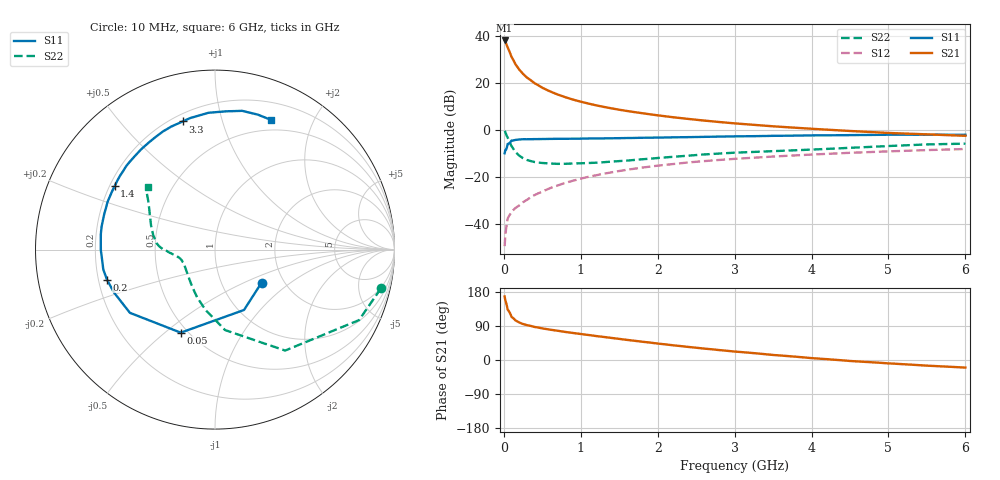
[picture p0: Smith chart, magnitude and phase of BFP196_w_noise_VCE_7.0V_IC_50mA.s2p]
! Infineon Technologies  Discrete & RF Semiconductors
! BFP196
! VCE =  7.0 V,  IC =  50 mA
! Common Emitter S-Parameters:  Jan 2017
# GHz  S  MA  R  50
!  f  S11  S21  S12  S22
! GHz  MAG  ANG  MAG  ANG  MAG  ANG  MAG  ANG
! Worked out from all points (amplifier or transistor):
!   77 points, 10 MHz to 6 GHz, reference 50 ohm
!   highest |S21| = 37.9 dB at 10 MHz (marker M1)
!   |S21| within 3 dB of that: start of sweep to 50.59 MHz
!   unconditionally stable (mu >= 1): 559.3 MHz to 2.461 GHz
!   at 130 MHz: K = 0.60, MSG = 31.5 dB, |S12| = -33.9 dB
!   at 2.2 GHz: K = 1.01, MAG = 9.3 dB, |S12| = -14.5 dB
!   at 6 GHz: K = 0.94, MSG = 2.8 dB, |S12| = -8.1 dB
!   lowest NFmin = 1.45 dB at 450 MHz
!   S11 on the Smith chart (normalised r, x): 10 MHz: 1.54, -0.63; 50 MHz: 0.46, -0.57; 200 MHz: 0.24, -0.13; 1.4 GHz: 0.22, +0.28; 3.3 GHz: 0.24, +0.75; 6 GHz: 0.38, +1.46
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0.01  0.3182 -35.3  78.82 167.8  0.0034 80.3  0.949 -13.2
0.02  0.3731 -64.3  75.53 157.1  0.0059 78.3  0.8935 -26.1
0.05  0.5005 -112.4  56.08 133.1  0.0131 55.8  0.6849 -55.2
0.1  0.5907 -143.4  35.26 113.7  0.018 52.0  0.4515 -82.9
0.15  0.6115 -157.0  24.83 104.6  0.0219 52.7  0.3405 -98.9
0.2  0.6247 -164.5  19.02 99.0  0.0249 57.6  0.2839 -110.5
0.25  0.6322 -169.9  15.37 94.9  0.0292 59.5  0.2503 -119.1
0.3  0.6313 -173.8  12.87 92.0  0.0327 60.7  0.2293 -126.3
0.4  0.6359 -179.6  9.754 87.2  0.0413 63.7  0.2073 -136.6
0.5  0.6382 175.8  7.817 83.4  0.049 65.1  0.198 -144.0
0.6  0.6422 171.9  6.547 80.1  0.0578 65.7  0.1933 -149.8
0.7  0.6447 168.5  5.617 77.2  0.066 66.7  0.1897 -154.0
0.9  0.6483 162.0  4.377 71.3  0.0833 65.4  0.1932 -159.7
1.1  0.6549 156.1  3.608 66.0  0.1009 64.0  0.1979 -164.3
1.4  0.6613 147.7  2.86 58.2  0.1253 60.8  0.2118 -169.2
1.7  0.6731 139.6  2.375 50.7  0.1499 57.4  0.2299 -172.6
2.1  0.6883 129.2  1.939 41.2  0.1808 51.9  0.26 -177.1
3.1  0.7295 107.9  1.333 20.7  0.2476 38.9  0.3323 172.2
3.3  0.7362 104.2  1.258 17.2  0.2592 36.4  0.3424 169.5
4.1  0.764 91.3  1.031 3.6  0.304 26.7  0.3875 157.5
5.1  0.7872 77.6  0.847 -10.0  0.3536 15.1  0.4605 143.9
6  0.7872 66.5  0.747 -20.1  0.3921 5.1  0.5096 136.9
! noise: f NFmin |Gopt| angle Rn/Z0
0.45  1.45  0.4  -176  0.06
0.9  1.6  0.47  -164  0.08
1.9  2.42  0.68  -132  0.32
2.4  2.82  0.7  -119  0.66
